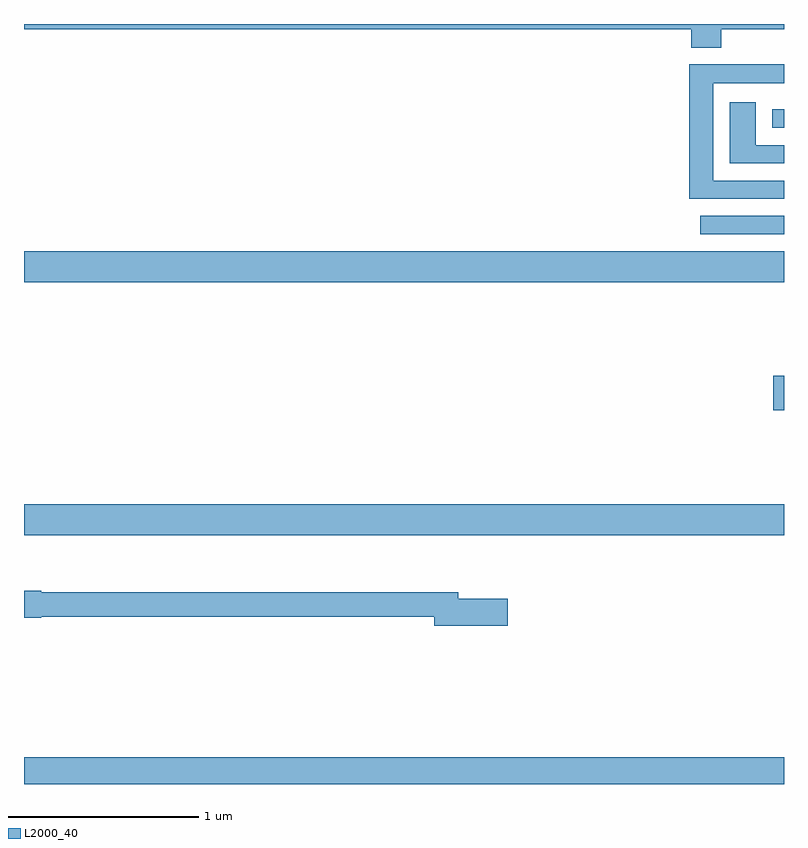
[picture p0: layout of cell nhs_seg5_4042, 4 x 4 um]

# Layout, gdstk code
import gdstk
lib = gdstk.Library(unit=1e-6, precision=1e-09)
def R(c, l, rs):  # rectangles x0, y0, x1, y1
    for r in rs: c.add(gdstk.rectangle(r[:2], r[2:], *l))
def P(c, l, *ps):  # polygons
    for p in ps: c.add(gdstk.Polygon(p, *l))
L2000_40 = (2000, 40)

nhs_seg5_4042 = lib.new_cell('nhs_seg5_4042')
R(nhs_seg5_4042, L2000_40, [(349,840.799,353,840.94), (349,842.108,353,842.272), (352.944,842.765,353,842.948), (349,843.44,353,843.604), (352.56,843.693,353,843.789), (352.937,844.254,353,844.35)])
P(nhs_seg5_4042, L2000_40, [(352.671,844.772),(353,844.772),(353,844.799),(349,844.799),(349,844.772),(352.511,844.772),(352.511,844.673),(352.671,844.673)],
  [(353,843.975),(352.627,843.975),(352.627,844.488),(352.948,844.488),(352.948,844.487),(353,844.487),(353,844.586),(352.502,844.586),(352.502,843.879),(353,843.879)],
  [(353,844.161),(352.852,844.161),(352.852,844.387),(352.715,844.387),(352.715,844.065),(353,844.065)],
  [(351.547,841.773),(351.286,841.773),(351.286,841.807),(349.092,841.807),(349.092,841.815),(349,841.815),(349,841.673),(349.092,841.673),(349.092,841.678),(351.158,841.678),(351.158,841.631),(351.547,841.631)])

lib.write_gds('nhs_seg5_4042.gds')
